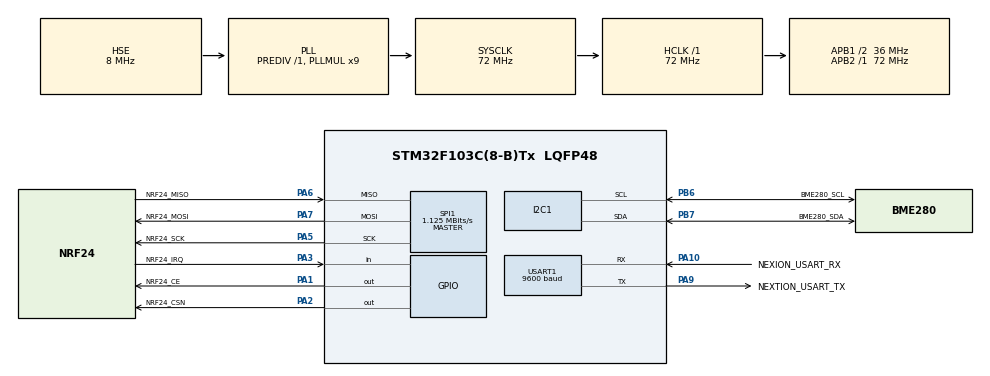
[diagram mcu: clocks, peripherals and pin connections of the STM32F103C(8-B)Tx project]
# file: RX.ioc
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FREERTOS.Tasks01=defaultTask,0,64,StartDefaultTask,Default,NULL,Dynamic,NULL,NULL;bme280_get_res,0,64,StartTask_bme280_get_result,Default,NULL,Dynamic,NULL,NULL;show_time,0,64,StartTask_show_time,Default,NULL,Dynamic,NULL,NULL;nrf24_rx,0,64,StartTask_nrf24_rx,Default,NULL,Dynamic,NULL,NULL
FREERTOS.configGENERATE_RUN_TIME_STATS=1
FREERTOS.configMAX_PRIORITIES=4
FREERTOS.configMINIMAL_STACK_SIZE=64
FREERTOS.configUSE_STATS_FORMATTING_FUNCTIONS=1
FREERTOS.configUSE_TRACE_FACILITY=1
I2C1.I2C_Mode=I2C_Fast
Mcu.Family=STM32F1
Mcu.Name=STM32F103C(8-B)Tx
Mcu.Package=LQFP48
NVIC.I2C1_EV_IRQn=true\:5\:0\:false\:false\:true\:true\:true\:true
NVIC.PriorityGroup=NVIC_PRIORITYGROUP_4
NVIC.RTC_IRQn=true\:5\:0\:false\:false\:true\:true\:true\:true
NVIC.TIM2_IRQn=true\:0\:0\:false\:false\:true\:false\:false\:true
NVIC.TimeBase=TIM2_IRQn
NVIC.TimeBaseIP=TIM2
NVIC.USART1_IRQn=true\:5\:0\:false\:false\:true\:true\:true\:true
PA1.GPIO_Label=NRF24_CE
PA1.Signal=GPIO_Output
PA10.GPIO_Label=NEXION_USART_RX
PA10.Mode=Asynchronous
PA10.Signal=USART1_RX
PA13.Mode=Serial_Wire
PA13.Signal=SYS_JTMS-SWDIO
PA14.Mode=Serial_Wire
PA14.Signal=SYS_JTCK-SWCLK
PA2.GPIO_Label=NRF24_CSN
PA2.Signal=GPIO_Output
PA3.GPIO_Label=NRF24_IRQ
PA3.Signal=GPIO_Input
PA5.GPIO_Label=NRF24_SCK
PA5.Mode=Full_Duplex_Master
PA5.Signal=SPI1_SCK
PA6.GPIO_Label=NRF24_MISO
PA6.Mode=Full_Duplex_Master
PA6.Signal=SPI1_MISO
PA7.GPIO_Label=NRF24_MOSI
PA7.Mode=Full_Duplex_Master
PA7.Signal=SPI1_MOSI
PA9.GPIO_Label=NEXTION_USART_TX
PA9.Mode=Asynchronous
PA9.Signal=USART1_TX
PB6.GPIO_Label=BME280_SCL
PB6.Mode=I2C
PB6.Signal=I2C1_SCL
PB7.GPIO_Label=BME280_SDA
PB7.Mode=I2C
PB7.Signal=I2C1_SDA
PC14-OSC32_IN.Mode=LSE-External-Oscillator
PC14-OSC32_IN.Signal=RCC_OSC32_IN
PC15-OSC32_OUT.Mode=LSE-External-Oscillator
PC15-OSC32_OUT.Signal=RCC_OSC32_OUT
PD0-OSC_IN.Mode=HSE-External-Oscillator
PD0-OSC_IN.Signal=RCC_OSC_IN
PD1-OSC_OUT.Mode=HSE-External-Oscillator
PD1-OSC_OUT.Signal=RCC_OSC_OUT
ProjectManager.HeapSize=0x200
ProjectManager.StackSize=0x400
ProjectManager.TargetToolchain=MDK-ARM V5.27
RCC.AHBFreq_Value=72000000
RCC.APB1CLKDivider=RCC_HCLK_DIV2
RCC.APB1Freq_Value=36000000
RCC.APB1TimFreq_Value=72000000
RCC.APB2Freq_Value=72000000
RCC.APB2TimFreq_Value=72000000
RCC.HCLKFreq_Value=72000000
RCC.PLLMUL=RCC_PLL_MUL9
RCC.PLLSourceVirtual=RCC_PLLSOURCE_HSE
RCC.RTCClockSelection=RCC_RTCCLKSOURCE_LSE
RCC.SYSCLKFreq_VALUE=72000000
RCC.SYSCLKSource=RCC_SYSCLKSOURCE_PLLCLK
RCC.USBFreq_Value=72000000
RTC.Date=23
RTC.Format=RTC_FORMAT_BIN
RTC.OutPut=RTC_OUTPUTSOURCE_ALARM
RTC.WeekDay=RTC_WEEKDAY_SATURDAY
RTC.Year=21
SPI1.BaudRatePrescaler=SPI_BAUDRATEPRESCALER_64
SPI1.CalculateBaudRate=1.125 MBits/s
SPI1.Direction=SPI_DIRECTION_2LINES
SPI1.Mode=SPI_MODE_MASTER
SPI1.VirtualType=VM_MASTER
USART1.BaudRate=9600
USART1.VirtualMode=VM_ASYNC
VP_FREERTOS_VS_CMSIS_V1.Mode=CMSIS_V1
VP_RTC_VS_RTC_Activate.Mode=RTC_Enabled
VP_RTC_VS_RTC_Calendar.Mode=RTC_Calendar
VP_SYS_VS_tim2.Mode=TIM2
board=custom

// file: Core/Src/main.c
/* USER CODE BEGIN Header */

/* USER CODE END Header */
#include "main.h"
#include "cmsis_os.h"

/* USER CODE BEGIN PD */
//define debug print enable or disable in bme280.c file
#define DEBUGENABLED 0
/* USER CODE END PD */

I2C_HandleTypeDef hi2c1;
RTC_HandleTypeDef hrtc;
SPI_HandleTypeDef hspi1;
UART_HandleTypeDef huart1;

osThreadId defaultTaskHandle;
osThreadId bme280_get_resHandle;
osThreadId show_timeHandle;
osThreadId nrf24_rxHandle;
/* USER CODE BEGIN PV */
char 	temp_str[60];
uint8_t cmd_end[3] = {0xFF, 0xFF, 0xFF,};

uint64_t RxpipeAddrs = 0xB7B6B5B4B3;
char RxData[50];

RTC_TimeTypeDef sTime = {0};
RTC_DateTypeDef DateToUpdate = {0};

bmp_meas_t bmp;

/* USER CODE END PV */

void SystemClock_Config(void);
static void MX_GPIO_Init(void);
static void MX_I2C1_Init(void);
static void MX_USART1_UART_Init(void);
static void MX_RTC_Init(void);
static void MX_SPI1_Init(void);
void StartDefaultTask(void const * argument);
void StartTask_bme280_get_result(void const * argument);
void StartTask_show_time(void const * argument);
void StartTask_nrf24_rx(void const * argument);

/* USER CODE BEGIN PFP */
void nextion_send_str(char *id, char *str)
{
	char buff[50];
	sprintf(buff, "%s.txt=\"%s\"", id, str);
	HAL_UART_Transmit(&huart1, (uint8_t*)buff, strlen(buff), 1000);
	HAL_UART_Transmit(&huart1, (uint8_t*)cmd_end, 3, 1000);
}

void nrf24_init(void)
{
	nrf24_begin(GPIOA, NRF24_CSN_Pin, NRF24_CE_Pin, hspi1);
	nrf24_setAutoAck(true);
	nrf24_setChannel(52);
	nrf24_setPayloadSize(32);
	nrf24_openReadingPipe(1, RxpipeAddrs);
	nrf24_enableAckPayload();
	nrf24_startListening();
//	printRadioSettings();
}
/* USER CODE END PFP */

int main(void)
{

  /* MCU Configuration--------------------------------------------------------*/

  /* Reset of all peripherals, Initializes the Flash interface and the Systick. */
  HAL_Init();

  /* Configure the system clock */
  SystemClock_Config();

  /* Initialize all configured peripherals */
  MX_GPIO_Init();
  MX_I2C1_Init();
  MX_USART1_UART_Init();
  MX_RTC_Init();
  MX_SPI1_Init();
  /* USER CODE BEGIN 2 */
	bme280_init();
	nrf24_init();
  /* USER CODE END 2 */

  /* Create the semaphores(s) */
  /* definition and creation of myBinarySemTime */

  /* Create the thread(s) */
  /* definition and creation of defaultTask */
  osThreadDef(defaultTask, StartDefaultTask, osPriorityNormal, 0, 64);
  defaultTaskHandle = osThreadCreate(osThread(defaultTask), NULL);

  /* definition and creation of bme280_get_res */
  osThreadDef(bme280_get_res, StartTask_bme280_get_result, osPriorityNormal, 0, 64);
  bme280_get_resHandle = osThreadCreate(osThread(bme280_get_res), NULL);

  /* definition and creation of show_time */
  osThreadDef(show_time, StartTask_show_time, osPriorityNormal, 0, 64);
  show_timeHandle = osThreadCreate(osThread(show_time), NULL);

  /* definition and creation of nrf24_rx */
  osThreadDef(nrf24_rx, StartTask_nrf24_rx, osPriorityNormal, 0, 64);
  nrf24_rxHandle = osThreadCreate(osThread(nrf24_rx), NULL);

  /* Start scheduler */
  osKernelStart();

  /* We should never get here as control is now taken by the scheduler */
  /* Infinite loop */
  while (1)
  {

  }
}

void SystemClock_Config(void)
{
  RCC_OscInitTypeDef RCC_OscInitStruct = {0};
  RCC_ClkInitTypeDef RCC_ClkInitStruct = {0};
  RCC_PeriphCLKInitTypeDef PeriphClkInit = {0};

  /** Initializes the RCC Oscillators according to the specified parameters
  * in the RCC_OscInitTypeDef structure.
  */
  RCC_OscInitStruct.OscillatorType = RCC_OSCILLATORTYPE_HSE|RCC_OSCILLATORTYPE_LSE;
  RCC_OscInitStruct.HSEState = RCC_HSE_ON;
  RCC_OscInitStruct.HSEPredivValue = RCC_HSE_PREDIV_DIV1;
  RCC_OscInitStruct.LSEState = RCC_LSE_ON;
  RCC_OscInitStruct.HSIState = RCC_HSI_ON;
  RCC_OscInitStruct.PLL.PLLState = RCC_PLL_ON;
  RCC_OscInitStruct.PLL.PLLSource = RCC_PLLSOURCE_HSE;
  RCC_OscInitStruct.PLL.PLLMUL = RCC_PLL_MUL9;
  if (HAL_RCC_OscConfig(&RCC_OscInitStruct) != HAL_OK)
  {
    Error_Handler();
  }
  /** Initializes the CPU, AHB and APB buses clocks
  */
  RCC_ClkInitStruct.ClockType = RCC_CLOCKTYPE_HCLK|RCC_CLOCKTYPE_SYSCLK
															|RCC_CLOCKTYPE_PCLK1|RCC_CLOCKTYPE_PCLK2;
  RCC_ClkInitStruct.SYSCLKSource = RCC_SYSCLKSOURCE_PLLCLK;
  RCC_ClkInitStruct.AHBCLKDivider = RCC_SYSCLK_DIV1;
  RCC_ClkInitStruct.APB1CLKDivider = RCC_HCLK_DIV2;
  RCC_ClkInitStruct.APB2CLKDivider = RCC_HCLK_DIV1;

  if (HAL_RCC_ClockConfig(&RCC_ClkInitStruct, FLASH_LATENCY_2) != HAL_OK)
  {
    Error_Handler();
  }
  PeriphClkInit.PeriphClockSelection = RCC_PERIPHCLK_RTC;
  PeriphClkInit.RTCClockSelection = RCC_RTCCLKSOURCE_LSE;
  if (HAL_RCCEx_PeriphCLKConfig(&PeriphClkInit) != HAL_OK)
  {
    Error_Handler();
  }
}

static void MX_I2C1_Init(void)
{

  hi2c1.Instance = I2C1;
  hi2c1.Init.ClockSpeed = 400000;
  hi2c1.Init.DutyCycle = I2C_DUTYCYCLE_2;
  hi2c1.Init.OwnAddress1 = 0;
  hi2c1.Init.AddressingMode = I2C_ADDRESSINGMODE_7BIT;
  hi2c1.Init.DualAddressMode = I2C_DUALADDRESS_DISABLE;
  hi2c1.Init.OwnAddress2 = 0;
  hi2c1.Init.GeneralCallMode = I2C_GENERALCALL_DISABLE;
  hi2c1.Init.NoStretchMode = I2C_NOSTRETCH_DISABLE;
  if (HAL_I2C_Init(&hi2c1) != HAL_OK)
  {
    Error_Handler();
  }

}

static void MX_RTC_Init(void)
{

  RTC_TimeTypeDef sTime = {0};
  RTC_DateTypeDef DateToUpdate = {0};

  /** Initialize RTC Only
  */
  hrtc.Instance = RTC;
  hrtc.Init.AsynchPrediv = RTC_AUTO_1_SECOND;
  hrtc.Init.OutPut = RTC_OUTPUTSOURCE_ALARM;
  if (HAL_RTC_Init(&hrtc) != HAL_OK)
  {
    Error_Handler();
  }

  /** Initialize RTC and set the Time and Date
  */
  sTime.Hours = 0;
  sTime.Minutes = 0;
  sTime.Seconds = 0;

  if (HAL_RTC_SetTime(&hrtc, &sTime, RTC_FORMAT_BIN) != HAL_OK)
  {
    Error_Handler();
  }
  DateToUpdate.WeekDay = RTC_WEEKDAY_TUESDAY;
  DateToUpdate.Month = RTC_MONTH_MARCH;
  DateToUpdate.Date = 9;
  DateToUpdate.Year = 21;

  if (HAL_RTC_SetDate(&hrtc, &DateToUpdate, RTC_FORMAT_BIN) != HAL_OK)
  {
    Error_Handler();
  }

}

static void MX_SPI1_Init(void)
{

  /* SPI1 parameter configuration*/
  hspi1.Instance = SPI1;
  hspi1.Init.Mode = SPI_MODE_MASTER;
  hspi1.Init.Direction = SPI_DIRECTION_2LINES;
  hspi1.Init.DataSize = SPI_DATASIZE_8BIT;
  hspi1.Init.CLKPolarity = SPI_POLARITY_LOW;
  hspi1.Init.CLKPhase = SPI_PHASE_1EDGE;
  hspi1.Init.NSS = SPI_NSS_SOFT;
  hspi1.Init.BaudRatePrescaler = SPI_BAUDRATEPRESCALER_64;
  hspi1.Init.FirstBit = SPI_FIRSTBIT_MSB;
  hspi1.Init.TIMode = SPI_TIMODE_DISABLE;
  hspi1.Init.CRCCalculation = SPI_CRCCALCULATION_DISABLE;
  hspi1.Init.CRCPolynomial = 10;
  if (HAL_SPI_Init(&hspi1) != HAL_OK)
  {
    Error_Handler();
  }

}

static void MX_USART1_UART_Init(void)
{

  huart1.Instance = USART1;
  huart1.Init.BaudRate = 9600;
  huart1.Init.WordLength = UART_WORDLENGTH_8B;
  huart1.Init.StopBits = UART_STOPBITS_1;
  huart1.Init.Parity = UART_PARITY_NONE;
  huart1.Init.Mode = UART_MODE_TX_RX;
  huart1.Init.HwFlowCtl = UART_HWCONTROL_NONE;
  huart1.Init.OverSampling = UART_OVERSAMPLING_16;
  if (HAL_UART_Init(&huart1) != HAL_OK)
  {
    Error_Handler();
  }

}

static void MX_GPIO_Init(void)
{
  GPIO_InitTypeDef GPIO_InitStruct = {0};

  /* GPIO Ports Clock Enable */
  __HAL_RCC_GPIOC_CLK_ENABLE();
  __HAL_RCC_GPIOD_CLK_ENABLE();
  __HAL_RCC_GPIOA_CLK_ENABLE();
  __HAL_RCC_GPIOB_CLK_ENABLE();

  /*Configure GPIO pin Output Level */
  HAL_GPIO_WritePin(GPIOA, NRF24_CE_Pin|NRF24_CSN_Pin, GPIO_PIN_RESET);

  /*Configure GPIO pins : nrf24_CE_Pin nrf24_CSN_Pin */
  GPIO_InitStruct.Pin = NRF24_CE_Pin|NRF24_CSN_Pin;
  GPIO_InitStruct.Mode = GPIO_MODE_OUTPUT_PP;
  GPIO_InitStruct.Pull = GPIO_NOPULL;
  GPIO_InitStruct.Speed = GPIO_SPEED_FREQ_LOW;
  HAL_GPIO_Init(GPIOA, &GPIO_InitStruct);

  /*Configure GPIO pin : nrf24_IRQ_Pin */
  GPIO_InitStruct.Pin = NRF24_IRQ_Pin;
  GPIO_InitStruct.Mode = GPIO_MODE_INPUT;
  GPIO_InitStruct.Pull = GPIO_NOPULL;
  HAL_GPIO_Init(NRF24_IRQ_GPIO_Port, &GPIO_InitStruct);

}

/* USER CODE BEGIN Header_StartDefaultTask */
/**param  argument: Not used
  * @retval None
  */
/* USER CODE END Header_StartDefaultTask */
void StartDefaultTask(void const * argument)
{
  /* USER CODE BEGIN 5 */
  /* Infinite loop */
  for(;;)
  {

		osDelay(100);
  }
  /* USER CODE END 5 */
}

void StartTask_bme280_get_result(void const * argument)
{
  /* USER CODE BEGIN StartTask_bme280_get_result */
  /* Infinite loop */
  for(;;)
  {
			bme280_get_meas(&bmp);

			sprintf(temp_str, "%.1f *C", bmp.temp);
			nextion_send_str("t_T", temp_str);

			sprintf(temp_str, "%d mmHg", (int)(bmp.press * 0.000750061683f));
			nextion_send_str("t_P", temp_str);

		  sprintf(temp_str, "%.1f %%", bmp.humidity);
			nextion_send_str("t_H", temp_str);

			osDelay(2000);
  }
  /* USER CODE END StartTask_bme280_get_result */
}

void StartTask_show_time(void const * argument)
{
  /* USER CODE BEGIN StartTask_show_time */
  /* Infinite loop */
  for(;;)
  {
		HAL_RTC_GetTime(&hrtc, &sTime, RTC_FORMAT_BIN);
		sprintf(temp_str, "%02d:%02d:%02d", sTime.Hours, sTime.Minutes, sTime.Seconds);
		nextion_send_str("t_time", temp_str);

		HAL_RTC_GetDate(&hrtc, &DateToUpdate, RTC_FORMAT_BIN);
		sprintf(temp_str, "%02d-%02d-%d", DateToUpdate.Date, DateToUpdate.Month, DateToUpdate.Year);
		nextion_send_str("t_date", temp_str);

		osDelay(300);
  }
  /* USER CODE END StartTask_show_time */
}

void StartTask_nrf24_rx(void const * argument)
{
  /* USER CODE BEGIN StartTask_nrf24_rx */
  /* Infinite loop */
  for(;;)
  {
		if(nrf24_available())
		{
			nrf24_read(RxData, 32);
			sprintf(temp_str, "%s", RxData);
			nextion_send_str("t_temp1", temp_str);
		}
		osDelay(3000);
  }
  /* USER CODE END StartTask_nrf24_rx */
}

 /**
  * @brief  Period elapsed callback in non blocking mode
  * @note   This function is called  when TIM2 interrupt took place, inside
  * HAL_TIM_IRQHandler(). It makes a direct call to HAL_IncTick() to increment
  * a global variable "uwTick" used as application time base.
  * @param  htim : TIM handle
  * @retval None
  */
void HAL_TIM_PeriodElapsedCallback(TIM_HandleTypeDef *htim)
{
  if (htim->Instance == TIM2) {
    HAL_IncTick();
  }
}

void Error_Handler(void)
{
  __disable_irq();
  while (1)
  {
  }
}

/************************ (C) COPYRIGHT STMicroelectronics *****END OF FILE****/

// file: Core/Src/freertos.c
/* USER CODE BEGIN Header */
/**
  ******************************************************************************
  * File Name          : freertos.c
  * Description        : Code for freertos applications
  ******************************************************************************
  * @attention
  *
  * <h2><center>&copy; Copyright (c) 2021 STMicroelectronics.
  * All rights reserved.</center></h2>
  *
  * This software component is licensed by ST under Ultimate Liberty license
  * SLA0044, the "License"; You may not use this file except in compliance with
  * the License. You may obtain a copy of the License at:
  *                             www.st.com/SLA0044
  *
  ******************************************************************************
  */
/* USER CODE END Header */

#include "FreeRTOS.h"
#include "task.h"
#include "main.h"

/* GetIdleTaskMemory prototype (linked to static allocation support) */
void vApplicationGetIdleTaskMemory( StaticTask_t **ppxIdleTaskTCBBuffer, StackType_t **ppxIdleTaskStackBuffer, uint32_t *pulIdleTaskStackSize );

/* Hook prototypes */
void configureTimerForRunTimeStats(void);
unsigned long getRunTimeCounterValue(void);

/* USER CODE BEGIN 1 */
/* Functions needed when configGENERATE_RUN_TIME_STATS is on */
__weak void configureTimerForRunTimeStats(void)
{

}

__weak unsigned long getRunTimeCounterValue(void)
{
return 0;
}
/* USER CODE END 1 */

/* USER CODE BEGIN GET_IDLE_TASK_MEMORY */
static StaticTask_t xIdleTaskTCBBuffer;
static StackType_t xIdleStack[configMINIMAL_STACK_SIZE];

void vApplicationGetIdleTaskMemory( StaticTask_t **ppxIdleTaskTCBBuffer, StackType_t **ppxIdleTaskStackBuffer, uint32_t *pulIdleTaskStackSize )
{
  *ppxIdleTaskTCBBuffer = &xIdleTaskTCBBuffer;
  *ppxIdleTaskStackBuffer = &xIdleStack[0];
  *pulIdleTaskStackSize = configMINIMAL_STACK_SIZE;
  /* place for user code */
}
/* USER CODE END GET_IDLE_TASK_MEMORY */

/************************ (C) COPYRIGHT STMicroelectronics *****END OF FILE****/
